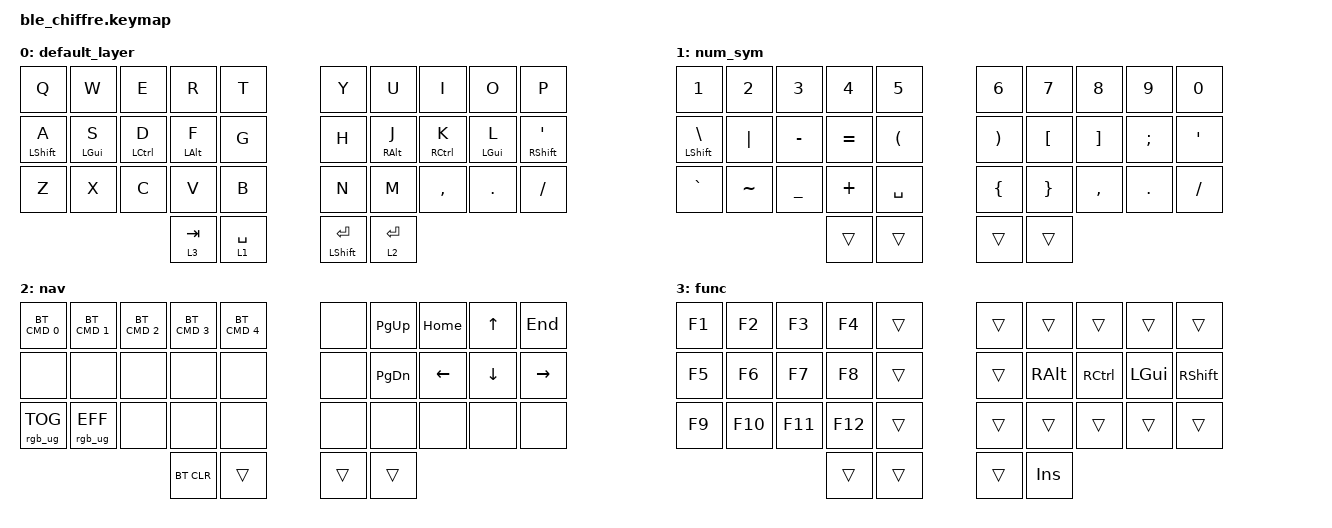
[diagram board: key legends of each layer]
/*
 * Copyright (c) 2020 The ZMK Contributors
 *
 * SPDX-License-Identifier: MIT
 */

#include <behaviors.dtsi>
#include <dt-bindings/zmk/keys.h>
#include <dt-bindings/zmk/bt.h>
#include <dt-bindings/zmk/rgb.h>

#define DEFAULT 0
#define NUM_SYM 1
#define NAV     2
#define FUNC    3

/ {
	behaviors {
		rst: boot_reset {
			compatible = "zmk,behavior-hold-tap";
			label = "Bootloader Tap - Reset Hold";
			#binding-cells = <2>;
			tapping_term_ms = <200>;
            		flavor = "balanced";
			bindings = <&reset>, <&bootloader>;
        	};

        	bh: layer_taps {
			compatible = "zmk,behavior-hold-tap";
			label = "Layer-Tap";
			#binding-cells = <2>;
			tapping_term_ms = <215>;
		    	flavor = "tap-preferred";
			bindings = <&mo>, <&kp>;
        	};

        	hm: homerow_mods0 {
			compatible = "zmk,behavior-hold-tap";
			label = "homerow mods";
			#binding-cells = <2>;
			tapping_term_ms = <230>;
            		flavor = "tap-preferred";
			bindings = <&kp>, <&kp>;
       	 	};
        
        	hm1: homerow_mods1 {
			compatible = "zmk,behavior-hold-tap";
			label = "homerow mods";
			#binding-cells = <2>;
			tapping_term_ms = <260>;
            		flavor = "tap-preferred";
			bindings = <&kp>, <&kp>;
        	};

        	hm2: homerow_mods2 {
			compatible = "zmk,behavior-hold-tap";
			label = "homerow mods 2";
			#binding-cells = <2>;
			tapping_term_ms = <250>;
            		flavor = "tap-preferred";
			bindings = <&kp>, <&kp>;
        	};
     	};	
};

/ {
	combos {
		compatible = "zmk,combos";
		combo_backspce {
			timeout-ms = <50>;
			key-positions = <8 9>;
			bindings = <&kp BSPC>;
		};
		
		combo_esc {
			timeout-ms = <30>;
			key-positions = <0 1>;
			bindings = <&kp ESC>;
		};
		
		combo_tab {
			timeout-ms = <35>;
			key-positions = <1 2>;
			bindings = <&kp TAB>;
		};
		
		combo_mnxt {
			timeout-ms = <30>;
			key-positions = <28 29>;
			bindings = <&kp C_NEXT>;
		};
		
		combo_mprev {
			timeout-ms = <30>;
			key-positions = <27 28>;
			bindings = <&kp C_PREV>;	
		};
		
		combo_mpp {
			timeout-ms = <30>;
			key-positions = <27 29>;
			bindings = <&kp C_PP>;
		};
		
		combo_del {
			timeout-ms = <40>;
			key-positions = <7 8>;
			bindings = <&kp DEL>;
		};
	};
};

/ {
    keymap {
    	compatible = "zmk,keymap";

    	default_layer {
            bindings = <
    		&kp Q &kp W &kp E &kp R	&kp T &kp Y &kp U &kp I	&kp O &kp P
    		&hm1 LSHFT A &hm2 LGUI S &hm LCTRL D &hm LALT F &kp G &kp H &hm RALT J &hm RCTRL K &hm2 LGUI L &hm1 RSHFT SQT
    		&kp Z &kp X &kp C &kp V &kp B &kp N &kp M &kp COMMA &kp DOT &kp FSLH
    		&bh 3 TAB   &bh 1 SPACE &mt LSHFT RET &bh 2 RET
            >;
        };

    	num_sym {
            bindings = <
    		&kp N1 &kp N2 &kp N3 &kp N4 &kp N5 &kp N6 &kp N7 &kp N8 &kp N9 &kp N0
		&hm1 LSHFT BSLH &kp PIPE &kp MINUS &kp EQUAL &kp LPAR &kp RPAR &kp LBKT &kp RBKT &kp SEMI &kp SQT
    		&kp GRAVE &kp TILDE &kp UNDER &kp PLUS &kp SPACE &kp LBRC &kp RBRC &kp COMMA &kp DOT &kp FSLH
		&trans &trans &trans &trans
            >;
        };

    	nav {
            bindings = <
    		&bt BT_SEL_CMD 0 &bt BT_SEL_CMD 1 &bt BT_SEL_CMD 2 &bt BT_SEL_CMD 3 &bt BT_SEL_CMD 4 &none &kp PG_UP &kp HOME &kp UP &kp END
    		&none &none &none &none &none &none &kp PG_DN &kp LEFT &kp DOWN &kp RIGHT
    		&rgb_ug RGB_TOG &rgb_ug RGB_EFF &none &none &none &none &none &none &none &none
		&bt BT_CLR &trans &trans &trans
            >;
        };
	
	func {
            bindings = <
    		&kp F1 &kp F2 &kp F3 &kp F4 &trans &trans &trans &trans &trans &trans
    		&kp F5 &kp F6 &kp F7 &kp F8 &trans &trans &kp RALT &kp RCTRL &kp LGUI &kp RSHFT
    		&kp F9 &kp F10 &kp F11 &kp F12 &trans &trans &trans &trans &trans &trans
		&trans &trans &trans &kp INSERT
            >;
        };
    };
};
